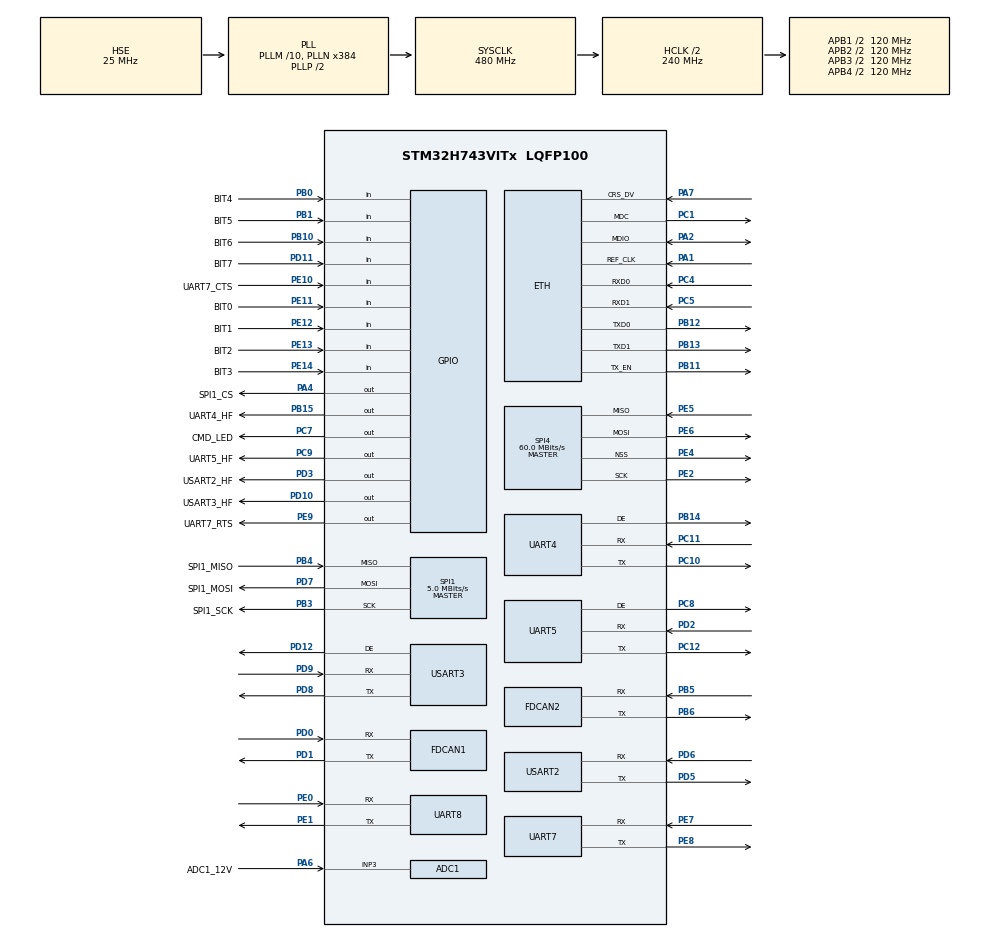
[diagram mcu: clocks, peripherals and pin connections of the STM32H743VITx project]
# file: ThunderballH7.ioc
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ADC1.Channel-0\#ChannelRegularConversion=ADC_CHANNEL_3
ADC1.NbrOfConversionFlag=1
ADC1.OffsetNumber-0\#ChannelRegularConversion=ADC_OFFSET_NONE
ADC1.OffsetSignedSaturation-0\#ChannelRegularConversion=DISABLE
ADC1.Rank-0\#ChannelRegularConversion=1
ADC1.SamplingTime-0\#ChannelRegularConversion=ADC_SAMPLETIME_1CYCLE_5
ADC1.master=1
CORTEX_M7.AccessPermission-Cortex_Memory_Protection_Unit_Region0_Settings=MPU_REGION_FULL_ACCESS
CORTEX_M7.AccessPermission-Cortex_Memory_Protection_Unit_Region1_Settings=MPU_REGION_FULL_ACCESS
CORTEX_M7.AccessPermission-Cortex_Memory_Protection_Unit_Region2_Settings=MPU_REGION_FULL_ACCESS
CORTEX_M7.BaseAddress-Cortex_Memory_Protection_Unit_Region0_Settings=0x30040000
CORTEX_M7.BaseAddress-Cortex_Memory_Protection_Unit_Region1_Settings=0x30044000
CORTEX_M7.BaseAddress-Cortex_Memory_Protection_Unit_Region2_Settings=0x30040000
CORTEX_M7.CPU_DCache=Enabled
CORTEX_M7.CPU_ICache=Enabled
CORTEX_M7.DisableExec-Cortex_Memory_Protection_Unit_Region0_Settings=MPU_INSTRUCTION_ACCESS_ENABLE
CORTEX_M7.DisableExec-Cortex_Memory_Protection_Unit_Region1_Settings=MPU_INSTRUCTION_ACCESS_ENABLE
CORTEX_M7.Enable-Cortex_Memory_Protection_Unit_Region0_Settings=MPU_REGION_ENABLE
CORTEX_M7.Enable-Cortex_Memory_Protection_Unit_Region1_Settings=MPU_REGION_ENABLE
CORTEX_M7.Enable-Cortex_Memory_Protection_Unit_Region2_Settings=MPU_REGION_ENABLE
CORTEX_M7.IsBufferable-Cortex_Memory_Protection_Unit_Region1_Settings=MPU_ACCESS_NOT_BUFFERABLE
CORTEX_M7.IsBufferable-Cortex_Memory_Protection_Unit_Region2_Settings=MPU_ACCESS_BUFFERABLE
CORTEX_M7.IsCacheable-Cortex_Memory_Protection_Unit_Region1_Settings=MPU_ACCESS_CACHEABLE
CORTEX_M7.IsShareable-Cortex_Memory_Protection_Unit_Region1_Settings=MPU_ACCESS_NOT_SHAREABLE
CORTEX_M7.MPU_Control=MPU_PRIVILEGED_DEFAULT
CORTEX_M7.Size-Cortex_Memory_Protection_Unit_Region0_Settings=MPU_REGION_SIZE_16KB
CORTEX_M7.Size-Cortex_Memory_Protection_Unit_Region1_Settings=MPU_REGION_SIZE_16KB
CORTEX_M7.Size-Cortex_Memory_Protection_Unit_Region2_Settings=MPU_REGION_SIZE_256B
CORTEX_M7.TypeExtField-Cortex_Memory_Protection_Unit_Region0_Settings=MPU_TEX_LEVEL1
ETH.MediaInterface=HAL_ETH_RMII_MODE
FDCAN1.DataPrescaler=5
FDCAN1.DataSyncJumpWidth=1
FDCAN1.DataTimeSeg1=5
FDCAN1.DataTimeSeg2=2
FDCAN1.NominalPrescaler=5
FDCAN1.NominalSyncJumpWidth=1
FDCAN1.NominalTimeSeg1=5
FDCAN1.RxFifo0ElmtsNbr=32
FDCAN1.TxFifoQueueElmtsNbr=1
FDCAN2.DataPrescaler=5
FDCAN2.DataTimeSeg1=5
FDCAN2.DataTimeSeg2=2
FDCAN2.NominalPrescaler=5
FDCAN2.NominalTimeSeg1=5
FDCAN2.RxFifo0ElmtsNbr=32
FDCAN2.TxFifoQueueElmtsNbr=1
LWIP.BSP.number=1
LWIP.GATEWAY_ADDRESS=192.168.001.001
LWIP.IP_ADDRESS=192.168.100.222
LWIP.LWIP_DHCP=0
LWIP.LWIP_HTTPD=1
LWIP.LWIP_HTTPD_CGI=1
LWIP.LWIP_HTTPD_SSI=1
LWIP.LWIP_NETIF_HOSTNAME=1
LWIP.MEM_SIZE=16360
LWIP.NETMASK_ADDRESS=255.255.255.000
LWIP.Version=v2.1.2_Cube
LWIP0.BSP.STBoard=false
LWIP0.BSP.api=BSP_COMPONENT_DRIVER
LWIP0.BSP.component=LAN8742
LWIP0.BSP.i2caddr=0
LWIP0.BSP.instance=LAN8742
LWIP0.BSP.name=Driver_PHY
LWIP0.BSP.solution=LAN8742
Mcu.Family=STM32H7
Mcu.Name=STM32H743VITx
Mcu.Package=LQFP100
NVIC.FDCAN1_IT0_IRQn=true\:0\:0\:false\:false\:true\:true\:true
NVIC.FDCAN2_IT0_IRQn=true\:0\:0\:false\:false\:true\:true\:true
NVIC.PriorityGroup=NVIC_PRIORITYGROUP_4
NVIC.TIM2_IRQn=true\:0\:0\:false\:false\:true\:true\:true
PA1.GPIO_Speed=GPIO_SPEED_FREQ_VERY_HIGH
PA1.Mode=RMII
PA1.Signal=ETH_REF_CLK
PA11.Signal=USB_OTG_FS_DM
PA12.Signal=USB_OTG_FS_DP
PA13\ (JTMS/SWDIO).Mode=Serial_Wire
PA13\ (JTMS/SWDIO).Signal=DEBUG_JTMS-SWDIO
PA14\ (JTCK/SWCLK).Mode=Serial_Wire
PA14\ (JTCK/SWCLK).Signal=DEBUG_JTCK-SWCLK
PA2.GPIO_Speed=GPIO_SPEED_FREQ_VERY_HIGH
PA2.Mode=RMII
PA2.Signal=ETH_MDIO
PA4.GPIO_Label=SPI1_CS
PA4.GPIO_Speed=GPIO_SPEED_FREQ_VERY_HIGH
PA4.PinState=GPIO_PIN_SET
PA4.Signal=GPIO_Output
PA6.GPIO_Label=ADC1_12V
PA6.Signal=ADCx_INP3
PA7.GPIO_Speed=GPIO_SPEED_FREQ_VERY_HIGH
PA7.Mode=RMII
PA7.Signal=ETH_CRS_DV
PB0.GPIO_Label=BIT4
PB0.GPIO_PuPd=GPIO_PULLUP
PB0.Signal=GPIO_Input
PB1.GPIO_Label=BIT5
PB1.GPIO_PuPd=GPIO_PULLUP
PB1.Signal=GPIO_Input
PB10.GPIO_Label=BIT6
PB10.GPIO_PuPd=GPIO_PULLUP
PB10.Signal=GPIO_Input
PB11.GPIO_Speed=GPIO_SPEED_FREQ_VERY_HIGH
PB11.Mode=RMII
PB11.Signal=ETH_TX_EN
PB12.GPIO_Speed=GPIO_SPEED_FREQ_VERY_HIGH
PB12.Mode=RMII
PB12.Signal=ETH_TXD0
PB13.GPIO_Speed=GPIO_SPEED_FREQ_VERY_HIGH
PB13.Mode=RMII
PB13.Signal=ETH_TXD1
PB14.Mode=Hardware Flow Control (RS485)
PB14.Signal=UART4_DE
PB15.GPIO_Label=UART4_HF
PB15.Signal=GPIO_Output
PB3\ (JTDO/TRACESWO).GPIO_Label=SPI1_SCK
PB3\ (JTDO/TRACESWO).GPIO_Speed=GPIO_SPEED_FREQ_VERY_HIGH
PB3\ (JTDO/TRACESWO).Mode=Full_Duplex_Master
PB3\ (JTDO/TRACESWO).Signal=SPI1_SCK
PB4\ (NJTRST).GPIO_Label=SPI1_MISO
PB4\ (NJTRST).GPIO_Speed=GPIO_SPEED_FREQ_VERY_HIGH
PB4\ (NJTRST).Mode=Full_Duplex_Master
PB4\ (NJTRST).Signal=SPI1_MISO
PB5.Mode=FDCAN_Activate
PB5.Signal=FDCAN2_RX
PB6.GPIO_FM6=SYSCFG_PMCR_I2C_PB6_FMP
PB6.Mode=FDCAN_Activate
PB6.Signal=FDCAN2_TX
PC1.GPIO_Speed=GPIO_SPEED_FREQ_VERY_HIGH
PC1.Mode=RMII
PC1.Signal=ETH_MDC
PC10.Mode=Asynchronous
PC10.Signal=UART4_TX
PC11.Mode=Asynchronous
PC11.Signal=UART4_RX
PC12.Mode=Asynchronous
PC12.Signal=UART5_TX
PC14-OSC32_IN\ (OSC32_IN).Mode=LSE-External-Oscillator
PC14-OSC32_IN\ (OSC32_IN).Signal=RCC_OSC32_IN
PC15-OSC32_OUT\ (OSC32_OUT).Mode=LSE-External-Oscillator
PC15-OSC32_OUT\ (OSC32_OUT).Signal=RCC_OSC32_OUT
PC4.GPIO_Speed=GPIO_SPEED_FREQ_VERY_HIGH
PC4.Mode=RMII
PC4.Signal=ETH_RXD0
PC5.GPIO_Speed=GPIO_SPEED_FREQ_VERY_HIGH
PC5.Mode=RMII
PC5.Signal=ETH_RXD1
PC7.GPIO_Label=CMD_LED
PC7.Signal=GPIO_Output
PC8.Mode=Hardware Flow Control (RS485)
PC8.Signal=UART5_DE
PC9.GPIO_Label=UART5_HF
PC9.Signal=GPIO_Output
PD0.Mode=FDCAN_Activate
PD0.Signal=FDCAN1_RX
PD1.Mode=FDCAN_Activate
PD1.Signal=FDCAN1_TX
PD10.GPIO_Label=USART3_HF
PD10.Signal=GPIO_Output
PD11.GPIO_Label=BIT7
PD11.GPIO_PuPd=GPIO_PULLUP
PD11.Signal=GPIO_Input
PD12.Mode=Hardware Flow Control (RS485)
PD12.Signal=USART3_DE
PD2.Mode=Asynchronous
PD2.Signal=UART5_RX
PD3.GPIO_Label=USART2_HF
PD3.Signal=GPIO_Output
PD4.Signal=USART2_DE
PD5.Mode=Asynchronous
PD5.Signal=USART2_TX
PD6.Mode=Asynchronous
PD6.Signal=USART2_RX
PD7.GPIO_Label=SPI1_MOSI
PD7.GPIO_Speed=GPIO_SPEED_FREQ_VERY_HIGH
PD7.Mode=Full_Duplex_Master
PD7.Signal=SPI1_MOSI
PD8.Mode=Asynchronous
PD8.Signal=USART3_TX
PD9.Mode=Asynchronous
PD9.Signal=USART3_RX
PE0.GPIO_PuPd=GPIO_PULLUP
PE0.Mode=Asynchronous
PE0.Signal=UART8_RX
PE1.Mode=Asynchronous
PE1.Signal=UART8_TX
PE10.GPIO_Label=UART7_CTS
PE10.Signal=GPIO_Input
PE11.GPIO_Label=BIT0
PE11.GPIO_PuPd=GPIO_PULLUP
PE11.Signal=GPIO_Input
PE12.GPIO_Label=BIT1
PE12.GPIO_PuPd=GPIO_PULLUP
PE12.Signal=GPIO_Input
PE13.GPIO_Label=BIT2
PE13.GPIO_PuPd=GPIO_PULLUP
PE13.Signal=GPIO_Input
PE14.GPIO_Label=BIT3
PE14.GPIO_PuPd=GPIO_PULLUP
PE14.Signal=GPIO_Input
PE15.GPIO_Label=ADC1_TEMP
PE15.Signal=GPXTI15
PE2.Mode=Full_Duplex_Master
PE2.Signal=SPI4_SCK
PE4.Mode=NSS_Signal_Hard_Output
PE4.Signal=SPI4_NSS
PE5.Mode=Full_Duplex_Master
PE5.Signal=SPI4_MISO
PE6.Mode=Full_Duplex_Master
PE6.Signal=SPI4_MOSI
PE7.Mode=Asynchronous
PE7.Signal=UART7_RX
PE8.Mode=Asynchronous
PE8.Signal=UART7_TX
PE9.GPIO_Label=UART7_RTS
PE9.Signal=GPIO_Output
PH0-OSC_IN\ (PH0).Mode=HSE-External-Oscillator
PH0-OSC_IN\ (PH0).Signal=RCC_OSC_IN
PH1-OSC_OUT\ (PH1).Mode=HSE-External-Oscillator
PH1-OSC_OUT\ (PH1).Signal=RCC_OSC_OUT
ProjectManager.HeapSize=0x200
ProjectManager.StackSize=0x400
ProjectManager.TargetToolchain=Makefile
RCC.ADCFreq_Value=100000000
RCC.APB1Freq_Value=120000000
RCC.APB2Freq_Value=120000000
RCC.APB3Freq_Value=120000000
RCC.APB4Freq_Value=120000000
RCC.CortexFreq_Value=480000000
RCC.D1PPRE=RCC_APB3_DIV2
RCC.D2PPRE1=RCC_APB1_DIV2
RCC.D2PPRE2=RCC_APB2_DIV2
RCC.D3PPRE=RCC_APB4_DIV2
RCC.DIVM1=10
RCC.DIVM2=2
RCC.DIVN1=384
RCC.DIVN2=64
RCC.DIVP2=8
RCC.DIVQ1=96
RCC.DIVQ2=4
RCC.EnableCSSLSE=false
RCC.EnbaleCSS=false
RCC.FLatency-AdvancedSettings=FLASH_LATENCY_0
RCC.HCLKFreq_Value=240000000
RCC.HPRE=RCC_HCLK_DIV2
RCC.PLL2_VCI_Range-AdvancedSettings=RCC_PLL2VCIRANGE_1
RCC.PLL2_VCO_SEL-AdvancedSettings=RCC_PLL2VCOMEDIUM
RCC.PLL3_VCI_Range-AdvancedSettings=RCC_PLL3VCIRANGE_0
RCC.PLLFRACN=0
RCC.PLLSourceVirtual=RCC_PLLSOURCE_HSE
RCC.RTCClockSelection=RCC_RTCCLKSOURCE_LSE
RCC.SYSCLKFreq_VALUE=480000000
RCC.SYSCLKSource=RCC_SYSCLKSOURCE_PLLCLK
RCC.Tim1Mul=1
RCC.Tim2Mul=1
RCC.USBFreq_Value=10000000
SH.ADCx_INP3.0=ADC1_INP3,IN3-Single-Ended
SPI1.BaudRatePrescaler=SPI_BAUDRATEPRESCALER_2
SPI1.CalculateBaudRate=5.0 MBits/s
SPI1.DataSize=SPI_DATASIZE_8BIT
SPI1.Direction=SPI_DIRECTION_2LINES
SPI1.Mode=SPI_MODE_MASTER
SPI1.VirtualType=VM_MASTER
SPI4.CalculateBaudRate=60.0 MBits/s
SPI4.Direction=SPI_DIRECTION_2LINES
SPI4.Mode=SPI_MODE_MASTER
SPI4.VirtualNSS=VM_NSSHARD
SPI4.VirtualType=VM_MASTER
TIM2.Period=50000
TIM5.Period=5000000
USART2.VirtualMode-Asynchronous=VM_ASYNC
USART3.VirtualMode-Asynchronous=VM_ASYNC
USART3.VirtualMode-Hardware\ Flow\ Control\ (RS485)=VM_ASYNC
VP_LWIP_VS_Enabled.Mode=Enabled
VP_RTC_VS_RTC_Activate.Mode=RTC_Enabled
VP_RTC_VS_RTC_Calendar.Mode=RTC_Calendar
VP_TIM2_VS_ClockSourceINT.Mode=Internal
VP_TIM5_VS_ClockSourceINT.Mode=Internal
board=custom

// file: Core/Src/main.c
/* USER CODE BEGIN Header */
/**
  ******************************************************************************
  * @file           : main.c
  * @brief          : Main program body
  ******************************************************************************
  * @attention
  *
  * <h2><center>&copy; Copyright (c) 2022 STMicroelectronics.
  * All rights reserved.</center></h2>
  *
  * This software component is licensed by ST under Ultimate Liberty license
  * SLA0044, the "License"; You may not use this file except in compliance with
  * the License. You may obtain a copy of the License at:
  *                             www.st.com/SLA0044
  *
  ******************************************************************************
  */
/* USER CODE END Header */
#include "main.h"
#include "lwip.h"

/* USER CODE BEGIN Includes */

    #include "common.h"

/* USER CODE END Includes */

ADC_HandleTypeDef hadc1;

FDCAN_HandleTypeDef hfdcan1;
FDCAN_HandleTypeDef hfdcan2;

RTC_HandleTypeDef hrtc;

SPI_HandleTypeDef hspi1;
SPI_HandleTypeDef hspi4;

TIM_HandleTypeDef htim2;
TIM_HandleTypeDef htim5;

UART_HandleTypeDef huart4;
UART_HandleTypeDef huart5;
UART_HandleTypeDef huart7;
UART_HandleTypeDef huart8;
UART_HandleTypeDef huart2;
UART_HandleTypeDef huart3;

void SystemClock_Config(void);
static void MPU_Config(void);
static void MX_GPIO_Init(void);
static void MX_SPI1_Init(void);
static void MX_ADC1_Init(void);
static void MX_FDCAN1_Init(void);
static void MX_SPI4_Init(void);
static void MX_TIM2_Init(void);
static void MX_TIM5_Init(void);
static void MX_UART4_Init(void);
static void MX_UART5_Init(void);
static void MX_UART7_Init(void);
static void MX_UART8_Init(void);
static void MX_USART2_UART_Init(void);
static void MX_USART3_UART_Init(void);
static void MX_RTC_Init(void);
static void MX_FDCAN2_Init(void);

/* USER CODE BEGIN 0 */
extern struct netif gnetif; /* network interface structure */

/* USER CODE END 0 */

int main(void)
{

  /* MPU Configuration--------------------------------------------------------*/
  MPU_Config();

  /* Enable I-Cache---------------------------------------------------------*/
  SCB_EnableICache();

  /* Enable D-Cache---------------------------------------------------------*/
  SCB_EnableDCache();

  /* MCU Configuration--------------------------------------------------------*/

  /* Reset of all peripherals, Initializes the Flash interface and the Systick. */
  HAL_Init();

  /* Configure the system clock */
  SystemClock_Config();

  /* USER CODE BEGIN SysInit */
    #ifdef BOOTLOAD
        MX_GPIO_Init();             // Init GPIO for Backlight
        JumpToBootloader();         // Launch USB Bootloader in ROM
    #endif
    netif_set_hostname(&gnetif, "ThunderballH7");   // LwIP : Set Host Name
    HAL_Delay(1500);                // !!!! ST PHY driver for LAN8742 auto-negotiation issue, see FAQ in readme.md !!!!

  /* USER CODE END SysInit */

  /* Initialize all configured peripherals */
  MX_GPIO_Init();
  MX_LWIP_Init();
  MX_SPI1_Init();
  MX_ADC1_Init();
  MX_FDCAN1_Init();
  MX_SPI4_Init();
  MX_TIM2_Init();
  MX_TIM5_Init();
  MX_UART4_Init();
  MX_UART5_Init();
  MX_UART7_Init();
  MX_UART8_Init();
  MX_USART2_UART_Init();
  MX_USART3_UART_Init();
  MX_RTC_Init();
  MX_FDCAN2_Init();
  /* USER CODE BEGIN 2 */

    httpd_task();                   // Init Web server
    InitCAN1();                     // Init CANbus1
    InitCAN2();                     // Init CANbus2
    AutotestFram();                 // Auto Test : Test FRAM

  /* USER CODE END 2 */

  /* Infinite loop */
  /* USER CODE BEGIN WHILE */
  while (1)
  {
    ethernetif_input(&gnetif);      // Ethernet : Reception pooling
    sys_check_timeouts();           // LwIP : Check
    AutotestPooling();              // Autotest : Test RTC, Serials, CANbus, Backlight

    /* USER CODE END WHILE */

  }
}

void SystemClock_Config(void)
{
  RCC_OscInitTypeDef RCC_OscInitStruct = {0};
  RCC_ClkInitTypeDef RCC_ClkInitStruct = {0};

  /** Supply configuration update enable
  */
  HAL_PWREx_ConfigSupply(PWR_LDO_SUPPLY);
  /** Configure the main internal regulator output voltage
  */
  __HAL_PWR_VOLTAGESCALING_CONFIG(PWR_REGULATOR_VOLTAGE_SCALE0);

  while(!__HAL_PWR_GET_FLAG(PWR_FLAG_VOSRDY)) {}
  /** Configure LSE Drive Capability
  */
  HAL_PWR_EnableBkUpAccess();
  __HAL_RCC_LSEDRIVE_CONFIG(RCC_LSEDRIVE_MEDIUMLOW); // RCC_LSEDRIVE_LOW);
  /** Macro to configure the PLL clock source
  */
  __HAL_RCC_PLL_PLLSOURCE_CONFIG(RCC_PLLSOURCE_HSE);
  /** Initializes the RCC Oscillators according to the specified parameters
  * in the RCC_OscInitTypeDef structure.
  */
  RCC_OscInitStruct.OscillatorType = RCC_OSCILLATORTYPE_HSE|RCC_OSCILLATORTYPE_LSE;
  RCC_OscInitStruct.HSEState = RCC_HSE_ON;
  RCC_OscInitStruct.LSEState = RCC_LSE_ON;
  RCC_OscInitStruct.PLL.PLLState = RCC_PLL_ON;
  RCC_OscInitStruct.PLL.PLLSource = RCC_PLLSOURCE_HSE;
  RCC_OscInitStruct.PLL.PLLM = 10;
  RCC_OscInitStruct.PLL.PLLN = 384;
  RCC_OscInitStruct.PLL.PLLP = 2;
  RCC_OscInitStruct.PLL.PLLQ = 96;
  RCC_OscInitStruct.PLL.PLLR = 2;
  RCC_OscInitStruct.PLL.PLLRGE = RCC_PLL1VCIRANGE_1;
  RCC_OscInitStruct.PLL.PLLVCOSEL = RCC_PLL1VCOWIDE;
  RCC_OscInitStruct.PLL.PLLFRACN = 0;
  if (HAL_RCC_OscConfig(&RCC_OscInitStruct) != HAL_OK)
  {
    Error_Handler();
  }
  /** Initializes the CPU, AHB and APB buses clocks
  */
  RCC_ClkInitStruct.ClockType = RCC_CLOCKTYPE_HCLK|RCC_CLOCKTYPE_SYSCLK
                              |RCC_CLOCKTYPE_PCLK1|RCC_CLOCKTYPE_PCLK2
                              |RCC_CLOCKTYPE_D3PCLK1|RCC_CLOCKTYPE_D1PCLK1;
  RCC_ClkInitStruct.SYSCLKSource = RCC_SYSCLKSOURCE_PLLCLK;
  RCC_ClkInitStruct.SYSCLKDivider = RCC_SYSCLK_DIV1;
  RCC_ClkInitStruct.AHBCLKDivider = RCC_HCLK_DIV2;
  RCC_ClkInitStruct.APB3CLKDivider = RCC_APB3_DIV2;
  RCC_ClkInitStruct.APB1CLKDivider = RCC_APB1_DIV2;
  RCC_ClkInitStruct.APB2CLKDivider = RCC_APB2_DIV2;
  RCC_ClkInitStruct.APB4CLKDivider = RCC_APB4_DIV2;

  if (HAL_RCC_ClockConfig(&RCC_ClkInitStruct, FLASH_LATENCY_4) != HAL_OK)
  {
    Error_Handler();
  }
}

static void MX_ADC1_Init(void)
{

  ADC_MultiModeTypeDef multimode = {0};
  ADC_ChannelConfTypeDef sConfig = {0};

  /** Common config
  */
  hadc1.Instance = ADC1;
  hadc1.Init.ClockPrescaler = ADC_CLOCK_ASYNC_DIV1;
  hadc1.Init.Resolution = ADC_RESOLUTION_16B;
  hadc1.Init.ScanConvMode = ADC_SCAN_DISABLE;
  hadc1.Init.EOCSelection = ADC_EOC_SINGLE_CONV;
  hadc1.Init.LowPowerAutoWait = DISABLE;
  hadc1.Init.ContinuousConvMode = DISABLE;
  hadc1.Init.NbrOfConversion = 1;
  hadc1.Init.DiscontinuousConvMode = DISABLE;
  hadc1.Init.ExternalTrigConv = ADC_SOFTWARE_START;
  hadc1.Init.ExternalTrigConvEdge = ADC_EXTERNALTRIGCONVEDGE_NONE;
  hadc1.Init.ConversionDataManagement = ADC_CONVERSIONDATA_DR;
  hadc1.Init.Overrun = ADC_OVR_DATA_PRESERVED;
  hadc1.Init.LeftBitShift = ADC_LEFTBITSHIFT_NONE;
  hadc1.Init.OversamplingMode = DISABLE;
  if (HAL_ADC_Init(&hadc1) != HAL_OK)
  {
    Error_Handler();
  }
  /** Configure the ADC multi-mode
  */
  multimode.Mode = ADC_MODE_INDEPENDENT;
  if (HAL_ADCEx_MultiModeConfigChannel(&hadc1, &multimode) != HAL_OK)
  {
    Error_Handler();
  }
  /** Configure Regular Channel
  */
  sConfig.Channel = ADC_CHANNEL_3;
  sConfig.Rank = ADC_REGULAR_RANK_1;
  sConfig.SamplingTime = ADC_SAMPLETIME_1CYCLE_5;
  sConfig.SingleDiff = ADC_SINGLE_ENDED;
  sConfig.OffsetNumber = ADC_OFFSET_NONE;
  sConfig.Offset = 0;
  sConfig.OffsetSignedSaturation = DISABLE;
  if (HAL_ADC_ConfigChannel(&hadc1, &sConfig) != HAL_OK)
  {
    Error_Handler();
  }

}

static void MX_FDCAN1_Init(void)
{

  hfdcan1.Instance = FDCAN1;
  hfdcan1.Init.FrameFormat = FDCAN_FRAME_CLASSIC;
  hfdcan1.Init.Mode = FDCAN_MODE_NORMAL;
  hfdcan1.Init.AutoRetransmission = DISABLE;
  hfdcan1.Init.TransmitPause = DISABLE;
  hfdcan1.Init.ProtocolException = DISABLE;
  hfdcan1.Init.NominalPrescaler = 5;
  hfdcan1.Init.NominalSyncJumpWidth = 1;
  hfdcan1.Init.NominalTimeSeg1 = 5;
  hfdcan1.Init.NominalTimeSeg2 = 2;
  hfdcan1.Init.DataPrescaler = 5;
  hfdcan1.Init.DataSyncJumpWidth = 1;
  hfdcan1.Init.DataTimeSeg1 = 5;
  hfdcan1.Init.DataTimeSeg2 = 2;
  hfdcan1.Init.MessageRAMOffset = 0;
  hfdcan1.Init.StdFiltersNbr = 0;
  hfdcan1.Init.ExtFiltersNbr = 0;
  hfdcan1.Init.RxFifo0ElmtsNbr = 32;
  hfdcan1.Init.RxFifo0ElmtSize = FDCAN_DATA_BYTES_8;
  hfdcan1.Init.RxFifo1ElmtsNbr = 0;
  hfdcan1.Init.RxFifo1ElmtSize = FDCAN_DATA_BYTES_8;
  hfdcan1.Init.RxBuffersNbr = 0;
  hfdcan1.Init.RxBufferSize = FDCAN_DATA_BYTES_8;
  hfdcan1.Init.TxEventsNbr = 0;
  hfdcan1.Init.TxBuffersNbr = 0;
  hfdcan1.Init.TxFifoQueueElmtsNbr = 1;
  hfdcan1.Init.TxFifoQueueMode = FDCAN_TX_FIFO_OPERATION;
  hfdcan1.Init.TxElmtSize = FDCAN_DATA_BYTES_8;
  if (HAL_FDCAN_Init(&hfdcan1) != HAL_OK)
  {
    Error_Handler();
  }

}

static void MX_FDCAN2_Init(void)
{

  hfdcan2.Instance = FDCAN2;
  hfdcan2.Init.FrameFormat = FDCAN_FRAME_CLASSIC;
  hfdcan2.Init.Mode = FDCAN_MODE_NORMAL;
  hfdcan2.Init.AutoRetransmission = DISABLE;
  hfdcan2.Init.TransmitPause = DISABLE;
  hfdcan2.Init.ProtocolException = DISABLE;
  hfdcan2.Init.NominalPrescaler = 5;
  hfdcan2.Init.NominalSyncJumpWidth = 1;
  hfdcan2.Init.NominalTimeSeg1 = 5;
  hfdcan2.Init.NominalTimeSeg2 = 2;
  hfdcan2.Init.DataPrescaler = 5;
  hfdcan2.Init.DataSyncJumpWidth = 1;
  hfdcan2.Init.DataTimeSeg1 = 5;
  hfdcan2.Init.DataTimeSeg2 = 2;
  hfdcan2.Init.MessageRAMOffset = 0;
  hfdcan2.Init.StdFiltersNbr = 0;
  hfdcan2.Init.ExtFiltersNbr = 0;
  hfdcan2.Init.RxFifo0ElmtsNbr = 32;
  hfdcan2.Init.RxFifo0ElmtSize = FDCAN_DATA_BYTES_8;
  hfdcan2.Init.RxFifo1ElmtsNbr = 0;
  hfdcan2.Init.RxFifo1ElmtSize = FDCAN_DATA_BYTES_8;
  hfdcan2.Init.RxBuffersNbr = 0;
  hfdcan2.Init.RxBufferSize = FDCAN_DATA_BYTES_8;
  hfdcan2.Init.TxEventsNbr = 0;
  hfdcan2.Init.TxBuffersNbr = 0;
  hfdcan2.Init.TxFifoQueueElmtsNbr = 1;
  hfdcan2.Init.TxFifoQueueMode = FDCAN_TX_FIFO_OPERATION;
  hfdcan2.Init.TxElmtSize = FDCAN_DATA_BYTES_8;
  if (HAL_FDCAN_Init(&hfdcan2) != HAL_OK)
  {
    Error_Handler();
  }

}

static void MX_RTC_Init(void)
{

  RTC_TimeTypeDef sTime = {0};
  RTC_DateTypeDef sDate = {0};

  /** Initialize RTC Only
  */
  hrtc.Instance = RTC;
  hrtc.Init.HourFormat = RTC_HOURFORMAT_24;
  hrtc.Init.AsynchPrediv = 127;
  hrtc.Init.SynchPrediv = 255;
  hrtc.Init.OutPut = RTC_OUTPUT_DISABLE;
  hrtc.Init.OutPutPolarity = RTC_OUTPUT_POLARITY_HIGH;
  hrtc.Init.OutPutType = RTC_OUTPUT_TYPE_OPENDRAIN;
  hrtc.Init.OutPutRemap = RTC_OUTPUT_REMAP_NONE;
  if (HAL_RTC_Init(&hrtc) != HAL_OK)
  {
    Error_Handler();
  }

  /** Initialize RTC and set the Time and Date
  */
  sTime.Hours = 0x0;
  sTime.Minutes = 0x0;
  sTime.Seconds = 0x0;
  sTime.DayLightSaving = RTC_DAYLIGHTSAVING_NONE;
  sTime.StoreOperation = RTC_STOREOPERATION_RESET;
  if (HAL_RTC_SetTime(&hrtc, &sTime, RTC_FORMAT_BCD) != HAL_OK)
  {
    Error_Handler();
  }
  sDate.WeekDay = RTC_WEEKDAY_MONDAY;
  sDate.Month = RTC_MONTH_JANUARY;
  sDate.Date = 0x1;
  sDate.Year = 0x0;

  if (HAL_RTC_SetDate(&hrtc, &sDate, RTC_FORMAT_BCD) != HAL_OK)
  {
    Error_Handler();
  }

}

static void MX_SPI1_Init(void)
{

  /* SPI1 parameter configuration*/
  hspi1.Instance = SPI1;
  hspi1.Init.Mode = SPI_MODE_MASTER;
  hspi1.Init.Direction = SPI_DIRECTION_2LINES;
  hspi1.Init.DataSize = SPI_DATASIZE_8BIT;
  hspi1.Init.CLKPolarity = SPI_POLARITY_LOW;
  hspi1.Init.CLKPhase = SPI_PHASE_1EDGE;
  hspi1.Init.NSS = SPI_NSS_SOFT;
  hspi1.Init.BaudRatePrescaler = SPI_BAUDRATEPRESCALER_2;
  hspi1.Init.FirstBit = SPI_FIRSTBIT_MSB;
  hspi1.Init.TIMode = SPI_TIMODE_DISABLE;
  hspi1.Init.CRCCalculation = SPI_CRCCALCULATION_DISABLE;
  hspi1.Init.CRCPolynomial = 0x0;
  hspi1.Init.NSSPMode = SPI_NSS_PULSE_ENABLE;
  hspi1.Init.NSSPolarity = SPI_NSS_POLARITY_LOW;
  hspi1.Init.FifoThreshold = SPI_FIFO_THRESHOLD_01DATA;
  hspi1.Init.TxCRCInitializationPattern = SPI_CRC_INITIALIZATION_ALL_ZERO_PATTERN;
  hspi1.Init.RxCRCInitializationPattern = SPI_CRC_INITIALIZATION_ALL_ZERO_PATTERN;
  hspi1.Init.MasterSSIdleness = SPI_MASTER_SS_IDLENESS_00CYCLE;
  hspi1.Init.MasterInterDataIdleness = SPI_MASTER_INTERDATA_IDLENESS_00CYCLE;
  hspi1.Init.MasterReceiverAutoSusp = SPI_MASTER_RX_AUTOSUSP_DISABLE;
  hspi1.Init.MasterKeepIOState = SPI_MASTER_KEEP_IO_STATE_DISABLE;
  hspi1.Init.IOSwap = SPI_IO_SWAP_DISABLE;
  if (HAL_SPI_Init(&hspi1) != HAL_OK)
  {
    Error_Handler();
  }

}

static void MX_SPI4_Init(void)
{

  /* SPI4 parameter configuration*/
  hspi4.Instance = SPI4;
  hspi4.Init.Mode = SPI_MODE_MASTER;
  hspi4.Init.Direction = SPI_DIRECTION_2LINES;
  hspi4.Init.DataSize = SPI_DATASIZE_4BIT;
  hspi4.Init.CLKPolarity = SPI_POLARITY_LOW;
  hspi4.Init.CLKPhase = SPI_PHASE_1EDGE;
  hspi4.Init.NSS = SPI_NSS_HARD_OUTPUT;
  hspi4.Init.BaudRatePrescaler = SPI_BAUDRATEPRESCALER_2;
  hspi4.Init.FirstBit = SPI_FIRSTBIT_MSB;
  hspi4.Init.TIMode = SPI_TIMODE_DISABLE;
  hspi4.Init.CRCCalculation = SPI_CRCCALCULATION_DISABLE;
  hspi4.Init.CRCPolynomial = 0x0;
  hspi4.Init.NSSPMode = SPI_NSS_PULSE_ENABLE;
  hspi4.Init.NSSPolarity = SPI_NSS_POLARITY_LOW;
  hspi4.Init.FifoThreshold = SPI_FIFO_THRESHOLD_01DATA;
  hspi4.Init.TxCRCInitializationPattern = SPI_CRC_INITIALIZATION_ALL_ZERO_PATTERN;
  hspi4.Init.RxCRCInitializationPattern = SPI_CRC_INITIALIZATION_ALL_ZERO_PATTERN;
  hspi4.Init.MasterSSIdleness = SPI_MASTER_SS_IDLENESS_00CYCLE;
  hspi4.Init.MasterInterDataIdleness = SPI_MASTER_INTERDATA_IDLENESS_00CYCLE;
  hspi4.Init.MasterReceiverAutoSusp = SPI_MASTER_RX_AUTOSUSP_DISABLE;
  hspi4.Init.MasterKeepIOState = SPI_MASTER_KEEP_IO_STATE_DISABLE;
  hspi4.Init.IOSwap = SPI_IO_SWAP_DISABLE;
  if (HAL_SPI_Init(&hspi4) != HAL_OK)
  {
    Error_Handler();
  }

}

static void MX_TIM2_Init(void)
{

  TIM_ClockConfigTypeDef sClockSourceConfig = {0};
  TIM_MasterConfigTypeDef sMasterConfig = {0};

  htim2.Instance = TIM2;
  htim2.Init.Prescaler = 0;
  htim2.Init.CounterMode = TIM_COUNTERMODE_UP;
  htim2.Init.Period = 50000;
  htim2.Init.ClockDivision = TIM_CLOCKDIVISION_DIV1;
  htim2.Init.AutoReloadPreload = TIM_AUTORELOAD_PRELOAD_DISABLE;
  if (HAL_TIM_Base_Init(&htim2) != HAL_OK)
  {
    Error_Handler();
  }
  sClockSourceConfig.ClockSource = TIM_CLOCKSOURCE_INTERNAL;
  if (HAL_TIM_ConfigClockSource(&htim2, &sClockSourceConfig) != HAL_OK)
  {
    Error_Handler();
  }
  sMasterConfig.MasterOutputTrigger = TIM_TRGO_RESET;
  sMasterConfig.MasterSlaveMode = TIM_MASTERSLAVEMODE_DISABLE;
  if (HAL_TIMEx_MasterConfigSynchronization(&htim2, &sMasterConfig) != HAL_OK)
  {
    Error_Handler();
  }

}

static void MX_TIM5_Init(void)
{

  TIM_ClockConfigTypeDef sClockSourceConfig = {0};
  TIM_MasterConfigTypeDef sMasterConfig = {0};

  htim5.Instance = TIM5;
  htim5.Init.Prescaler = 0;
  htim5.Init.CounterMode = TIM_COUNTERMODE_UP;
  htim5.Init.Period = 5000000;
  htim5.Init.ClockDivision = TIM_CLOCKDIVISION_DIV1;
  htim5.Init.AutoReloadPreload = TIM_AUTORELOAD_PRELOAD_DISABLE;
  if (HAL_TIM_Base_Init(&htim5) != HAL_OK)
  {
    Error_Handler();
  }
  sClockSourceConfig.ClockSource = TIM_CLOCKSOURCE_INTERNAL;
  if (HAL_TIM_ConfigClockSource(&htim5, &sClockSourceConfig) != HAL_OK)
  {
    Error_Handler();
  }
  sMasterConfig.MasterOutputTrigger = TIM_TRGO_RESET;
  sMasterConfig.MasterSlaveMode = TIM_MASTERSLAVEMODE_DISABLE;
  if (HAL_TIMEx_MasterConfigSynchronization(&htim5, &sMasterConfig) != HAL_OK)
  {
    Error_Handler();
  }

}

static void MX_UART4_Init(void)
{

  huart4.Instance = UART4;
  huart4.Init.BaudRate = 115200;
  huart4.Init.WordLength = UART_WORDLENGTH_8B;
  huart4.Init.StopBits = UART_STOPBITS_1;
  huart4.Init.Parity = UART_PARITY_NONE;
  huart4.Init.Mode = UART_MODE_TX_RX;
  huart4.Init.HwFlowCtl = UART_HWCONTROL_NONE;
  huart4.Init.OverSampling = UART_OVERSAMPLING_16;
  huart4.Init.OneBitSampling = UART_ONE_BIT_SAMPLE_DISABLE;
  huart4.Init.ClockPrescaler = UART_PRESCALER_DIV1;
  huart4.AdvancedInit.AdvFeatureInit = UART_ADVFEATURE_NO_INIT;
  if (HAL_RS485Ex_Init(&huart4, UART_DE_POLARITY_HIGH, 0, 0) != HAL_OK)
  {
    Error_Handler();
  }
  if (HAL_UARTEx_SetTxFifoThreshold(&huart4, UART_TXFIFO_THRESHOLD_1_8) != HAL_OK)
  {
    Error_Handler();
  }
  if (HAL_UARTEx_SetRxFifoThreshold(&huart4, UART_RXFIFO_THRESHOLD_1_8) != HAL_OK)
  {
    Error_Handler();
  }
  if (HAL_UARTEx_DisableFifoMode(&huart4) != HAL_OK)
  {
    Error_Handler();
  }

}

static void MX_UART5_Init(void)
{

  huart5.Instance = UART5;
  huart5.Init.BaudRate = 115200;
  huart5.Init.WordLength = UART_WORDLENGTH_8B;
  huart5.Init.StopBits = UART_STOPBITS_1;
  huart5.Init.Parity = UART_PARITY_NONE;
  huart5.Init.Mode = UART_MODE_TX_RX;
  huart5.Init.HwFlowCtl = UART_HWCONTROL_NONE;
  huart5.Init.OverSampling = UART_OVERSAMPLING_16;
  huart5.Init.OneBitSampling = UART_ONE_BIT_SAMPLE_DISABLE;
  huart5.Init.ClockPrescaler = UART_PRESCALER_DIV1;
  huart5.AdvancedInit.AdvFeatureInit = UART_ADVFEATURE_NO_INIT;
  if (HAL_RS485Ex_Init(&huart5, UART_DE_POLARITY_HIGH, 0, 0) != HAL_OK)
  {
    Error_Handler();
  }
  if (HAL_UARTEx_SetTxFifoThreshold(&huart5, UART_TXFIFO_THRESHOLD_1_8) != HAL_OK)
  {
    Error_Handler();
  }
  if (HAL_UARTEx_SetRxFifoThreshold(&huart5, UART_RXFIFO_THRESHOLD_1_8) != HAL_OK)
  {
    Error_Handler();
  }
  if (HAL_UARTEx_DisableFifoMode(&huart5) != HAL_OK)
  {
    Error_Handler();
  }

}

static void MX_UART7_Init(void)
{

  huart7.Instance = UART7;
  huart7.Init.BaudRate = 115200;
  huart7.Init.WordLength = UART_WORDLENGTH_8B;
  huart7.Init.StopBits = UART_STOPBITS_1;
  huart7.Init.Parity = UART_PARITY_NONE;
  huart7.Init.Mode = UART_MODE_TX_RX;
  huart7.Init.HwFlowCtl = UART_HWCONTROL_NONE;
  huart7.Init.OverSampling = UART_OVERSAMPLING_16;
  huart7.Init.OneBitSampling = UART_ONE_BIT_SAMPLE_DISABLE;
  huart7.Init.ClockPrescaler = UART_PRESCALER_DIV1;
  huart7.AdvancedInit.AdvFeatureInit = UART_ADVFEATURE_NO_INIT;
  if (HAL_UART_Init(&huart7) != HAL_OK)
  {
    Error_Handler();
  }
  if (HAL_UARTEx_SetTxFifoThreshold(&huart7, UART_TXFIFO_THRESHOLD_1_8) != HAL_OK)
  {
    Error_Handler();
  }
  if (HAL_UARTEx_SetRxFifoThreshold(&huart7, UART_RXFIFO_THRESHOLD_1_8) != HAL_OK)
  {
    Error_Handler();
  }
  if (HAL_UARTEx_DisableFifoMode(&huart7) != HAL_OK)
  {
    Error_Handler();
  }

}

static void MX_UART8_Init(void)
{

  huart8.Instance = UART8;
  huart8.Init.BaudRate = 115200;
  huart8.Init.WordLength = UART_WORDLENGTH_8B;
  huart8.Init.StopBits = UART_STOPBITS_1;
  huart8.Init.Parity = UART_PARITY_NONE;
  huart8.Init.Mode = UART_MODE_TX_RX;
  huart8.Init.HwFlowCtl = UART_HWCONTROL_NONE;
  huart8.Init.OverSampling = UART_OVERSAMPLING_16;
  huart8.Init.OneBitSampling = UART_ONE_BIT_SAMPLE_DISABLE;
  huart8.Init.ClockPrescaler = UART_PRESCALER_DIV1;
  huart8.AdvancedInit.AdvFeatureInit = UART_ADVFEATURE_NO_INIT;
  if (HAL_UART_Init(&huart8) != HAL_OK)
  {
    Error_Handler();
  }
  if (HAL_UARTEx_SetTxFifoThreshold(&huart8, UART_TXFIFO_THRESHOLD_1_8) != HAL_OK)
  {
    Error_Handler();
  }
  if (HAL_UARTEx_SetRxFifoThreshold(&huart8, UART_RXFIFO_THRESHOLD_1_8) != HAL_OK)
  {
    Error_Handler();
  }
  if (HAL_UARTEx_DisableFifoMode(&huart8) != HAL_OK)
  {
    Error_Handler();
  }

}

static void MX_USART2_UART_Init(void)
{

  huart2.Instance = USART2;
  huart2.Init.BaudRate = 115200;
  huart2.Init.WordLength = UART_WORDLENGTH_8B;
  huart2.Init.StopBits = UART_STOPBITS_1;
  huart2.Init.Parity = UART_PARITY_NONE;
  huart2.Init.Mode = UART_MODE_TX_RX;
  huart2.Init.HwFlowCtl = UART_HWCONTROL_NONE;
  huart2.Init.OverSampling = UART_OVERSAMPLING_16;
  huart2.Init.OneBitSampling = UART_ONE_BIT_SAMPLE_DISABLE;
  huart2.Init.ClockPrescaler = UART_PRESCALER_DIV1;
  huart2.AdvancedInit.AdvFeatureInit = UART_ADVFEATURE_NO_INIT;
  if (HAL_UART_Init(&huart2) != HAL_OK)
  {
    Error_Handler();
  }
  if (HAL_UARTEx_SetTxFifoThreshold(&huart2, UART_TXFIFO_THRESHOLD_1_8) != HAL_OK)
  {
    Error_Handler();
  }
  if (HAL_UARTEx_SetRxFifoThreshold(&huart2, UART_RXFIFO_THRESHOLD_1_8) != HAL_OK)
  {
    Error_Handler();
  }
  if (HAL_UARTEx_DisableFifoMode(&huart2) != HAL_OK)
  {
    Error_Handler();
  }

}

static void MX_USART3_UART_Init(void)
{

  huart3.Instance = USART3;
  huart3.Init.BaudRate = 115200;
  huart3.Init.WordLength = UART_WORDLENGTH_8B;
  huart3.Init.StopBits = UART_STOPBITS_1;
  huart3.Init.Parity = UART_PARITY_NONE;
  huart3.Init.Mode = UART_MODE_TX_RX;
  huart3.Init.HwFlowCtl = UART_HWCONTROL_NONE;
  huart3.Init.OverSampling = UART_OVERSAMPLING_16;
  huart3.Init.OneBitSampling = UART_ONE_BIT_SAMPLE_DISABLE;
  huart3.Init.ClockPrescaler = UART_PRESCALER_DIV1;
  huart3.AdvancedInit.AdvFeatureInit = UART_ADVFEATURE_NO_INIT;
  if (HAL_RS485Ex_Init(&huart3, UART_DE_POLARITY_HIGH, 0, 0) != HAL_OK)
  {
    Error_Handler();
  }
  if (HAL_UARTEx_SetTxFifoThreshold(&huart3, UART_TXFIFO_THRESHOLD_1_8) != HAL_OK)
  {
    Error_Handler();
  }
  if (HAL_UARTEx_SetRxFifoThreshold(&huart3, UART_RXFIFO_THRESHOLD_1_8) != HAL_OK)
  {
    Error_Handler();
  }
  if (HAL_UARTEx_DisableFifoMode(&huart3) != HAL_OK)
  {
    Error_Handler();
  }

}

static void MX_GPIO_Init(void)
{
  GPIO_InitTypeDef GPIO_InitStruct = {0};

  /* GPIO Ports Clock Enable */
  __HAL_RCC_GPIOE_CLK_ENABLE();
  __HAL_RCC_GPIOC_CLK_ENABLE();
  __HAL_RCC_GPIOH_CLK_ENABLE();
  __HAL_RCC_GPIOA_CLK_ENABLE();
  __HAL_RCC_GPIOB_CLK_ENABLE();
  __HAL_RCC_GPIOD_CLK_ENABLE();

  /*Configure GPIO pin Output Level */
  HAL_GPIO_WritePin(SPI1_CS_GPIO_Port, SPI1_CS_Pin, GPIO_PIN_SET);

  /*Configure GPIO pin Output Level */
  HAL_GPIO_WritePin(UART7_RTS_GPIO_Port, UART7_RTS_Pin, GPIO_PIN_RESET);

  /*Configure GPIO pin Output Level */
  HAL_GPIO_WritePin(UART4_HF_GPIO_Port, UART4_HF_Pin, GPIO_PIN_RESET);

  /*Configure GPIO pin Output Level */
  HAL_GPIO_WritePin(GPIOD, USART3_HF_Pin|USART2_HF_Pin, GPIO_PIN_RESET);

  /*Configure GPIO pin Output Level */
  HAL_GPIO_WritePin(GPIOC, CMD_LED_Pin|UART5_HF_Pin, GPIO_PIN_RESET);

  /*Configure GPIO pin : SPI1_CS_Pin */
  GPIO_InitStruct.Pin = SPI1_CS_Pin;
  GPIO_InitStruct.Mode = GPIO_MODE_OUTPUT_PP;
  GPIO_InitStruct.Pull = GPIO_NOPULL;
  GPIO_InitStruct.Speed = GPIO_SPEED_FREQ_VERY_HIGH;
  HAL_GPIO_Init(SPI1_CS_GPIO_Port, &GPIO_InitStruct);

  /*Configure GPIO pins : BIT4_Pin BIT5_Pin BIT6_Pin */
  GPIO_InitStruct.Pin = BIT4_Pin|BIT5_Pin|BIT6_Pin;
  GPIO_InitStruct.Mode = GPIO_MODE_INPUT;
  GPIO_InitStruct.Pull = GPIO_PULLUP;
  HAL_GPIO_Init(GPIOB, &GPIO_InitStruct);

  /*Configure GPIO pin : UART7_RTS_Pin */
  GPIO_InitStruct.Pin = UART7_RTS_Pin;
  GPIO_InitStruct.Mode = GPIO_MODE_OUTPUT_PP;
  GPIO_InitStruct.Pull = GPIO_NOPULL;
  GPIO_InitStruct.Speed = GPIO_SPEED_FREQ_LOW;
  HAL_GPIO_Init(UART7_RTS_GPIO_Port, &GPIO_InitStruct);

  /*Configure GPIO pin : UART7_CTS_Pin */
  GPIO_InitStruct.Pin = UART7_CTS_Pin;
  GPIO_InitStruct.Mode = GPIO_MODE_INPUT;
  GPIO_InitStruct.Pull = GPIO_NOPULL;
  HAL_GPIO_Init(UART7_CTS_GPIO_Port, &GPIO_InitStruct);

  /*Configure GPIO pins : BIT0_Pin BIT1_Pin BIT2_Pin BIT3_Pin */
  GPIO_InitStruct.Pin = BIT0_Pin|BIT1_Pin|BIT2_Pin|BIT3_Pin;
  GPIO_InitStruct.Mode = GPIO_MODE_INPUT;
  GPIO_InitStruct.Pull = GPIO_PULLUP;
  HAL_GPIO_Init(GPIOE, &GPIO_InitStruct);

  /*Configure GPIO pin : ADC1_TEMP_Pin */
  GPIO_InitStruct.Pin = ADC1_TEMP_Pin;
  GPIO_InitStruct.Mode = GPIO_MODE_IT_RISING;
  GPIO_InitStruct.Pull = GPIO_NOPULL;
  HAL_GPIO_Init(ADC1_TEMP_GPIO_Port, &GPIO_InitStruct);

  /*Configure GPIO pin : UART4_HF_Pin */
  GPIO_InitStruct.Pin = UART4_HF_Pin;
  GPIO_InitStruct.Mode = GPIO_MODE_OUTPUT_PP;
  GPIO_InitStruct.Pull = GPIO_NOPULL;
  GPIO_InitStruct.Speed = GPIO_SPEED_FREQ_LOW;
  HAL_GPIO_Init(UART4_HF_GPIO_Port, &GPIO_InitStruct);

  /*Configure GPIO pins : USART3_HF_Pin USART2_HF_Pin */
  GPIO_InitStruct.Pin = USART3_HF_Pin|USART2_HF_Pin;
  GPIO_InitStruct.Mode = GPIO_MODE_OUTPUT_PP;
  GPIO_InitStruct.Pull = GPIO_NOPULL;
  GPIO_InitStruct.Speed = GPIO_SPEED_FREQ_LOW;
  HAL_GPIO_Init(GPIOD, &GPIO_InitStruct);

  /*Configure GPIO pin : BIT7_Pin */
  GPIO_InitStruct.Pin = BIT7_Pin;
  GPIO_InitStruct.Mode = GPIO_MODE_INPUT;
  GPIO_InitStruct.Pull = GPIO_PULLUP;
  HAL_GPIO_Init(BIT7_GPIO_Port, &GPIO_InitStruct);

  /*Configure GPIO pins : CMD_LED_Pin UART5_HF_Pin */
  GPIO_InitStruct.Pin = CMD_LED_Pin|UART5_HF_Pin;
  GPIO_InitStruct.Mode = GPIO_MODE_OUTPUT_PP;
  GPIO_InitStruct.Pull = GPIO_NOPULL;
  GPIO_InitStruct.Speed = GPIO_SPEED_FREQ_LOW;
  HAL_GPIO_Init(GPIOC, &GPIO_InitStruct);

  /*Configure GPIO pins : PA11 PA12 */
  GPIO_InitStruct.Pin = GPIO_PIN_11|GPIO_PIN_12;
  GPIO_InitStruct.Mode = GPIO_MODE_AF_PP;
  GPIO_InitStruct.Pull = GPIO_NOPULL;
  GPIO_InitStruct.Speed = GPIO_SPEED_FREQ_LOW;
  GPIO_InitStruct.Alternate = GPIO_AF10_OTG1_FS;
  HAL_GPIO_Init(GPIOA, &GPIO_InitStruct);

}

/* MPU Configuration */

void MPU_Config(void)
{
  MPU_Region_InitTypeDef MPU_InitStruct = {0};

  /* Disables the MPU */
  HAL_MPU_Disable();
  /** Initializes and configures the Region and the memory to be protected
  */
  MPU_InitStruct.Enable = MPU_REGION_ENABLE;
  MPU_InitStruct.Number = MPU_REGION_NUMBER0;
  MPU_InitStruct.BaseAddress = 0x30040000;
  MPU_InitStruct.Size = MPU_REGION_SIZE_16KB;
  MPU_InitStruct.SubRegionDisable = 0x0;
  MPU_InitStruct.TypeExtField = MPU_TEX_LEVEL1;
  MPU_InitStruct.AccessPermission = MPU_REGION_FULL_ACCESS;
  MPU_InitStruct.DisableExec = MPU_INSTRUCTION_ACCESS_ENABLE;
  MPU_InitStruct.IsShareable = MPU_ACCESS_NOT_SHAREABLE;
  MPU_InitStruct.IsCacheable = MPU_ACCESS_NOT_CACHEABLE;
  MPU_InitStruct.IsBufferable = MPU_ACCESS_NOT_BUFFERABLE;

  HAL_MPU_ConfigRegion(&MPU_InitStruct);
  /** Initializes and configures the Region and the memory to be protected
  */
  MPU_InitStruct.Number = MPU_REGION_NUMBER1;
  MPU_InitStruct.BaseAddress = 0x30044000;
  MPU_InitStruct.TypeExtField = MPU_TEX_LEVEL0;
  MPU_InitStruct.IsCacheable = MPU_ACCESS_CACHEABLE;

  HAL_MPU_ConfigRegion(&MPU_InitStruct);
  /** Initializes and configures the Region and the memory to be protected
  */
  MPU_InitStruct.Number = MPU_REGION_NUMBER2;
  MPU_InitStruct.BaseAddress = 0x30040000;
  MPU_InitStruct.Size = MPU_REGION_SIZE_256B;
  MPU_InitStruct.IsCacheable = MPU_ACCESS_NOT_CACHEABLE;
  MPU_InitStruct.IsBufferable = MPU_ACCESS_BUFFERABLE;

  HAL_MPU_ConfigRegion(&MPU_InitStruct);
  /* Enables the MPU */
  HAL_MPU_Enable(MPU_PRIVILEGED_DEFAULT);

}

void Error_Handler(void)
{
  __disable_irq();
  while (1)
  {
  }
}
